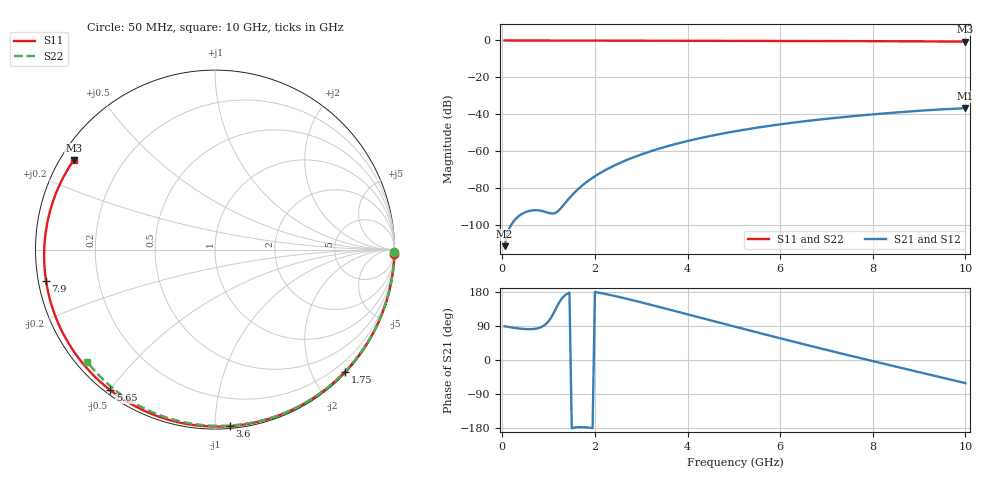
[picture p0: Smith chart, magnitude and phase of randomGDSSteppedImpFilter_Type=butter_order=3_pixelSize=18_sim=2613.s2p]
! freq	dB(S11)	phase(S11)	dB(S12)	phase(S12)
!  dB(S21)	phase(S21)	dB(S22)	phase(S22)
!S-par simulation data
#  GHz  S  DB  R 50
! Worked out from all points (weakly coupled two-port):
!   200 points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, 50 MHz to 10 GHz, reference 50 ohm
!   highest |S21| = -36.63 dB at 10 GHz (marker M1); lowest = -111.3 dB at 50 MHz (marker M2)
!   lowest |S11| = -0.6 dB at 10 GHz (marker M3), VSWR 28.41, Z = 1.91 + j14.5 ohm
!   |S11| at or under -10 dB: nowhere
!   |S22| runs from -0.5 to 0.0 dB; largest |S21 - S12| = 0
!   S11 on the Smith chart (normalised r, x): 50 MHz: 0, -90; 1.75 GHz: 0.02, -2.53; 3.6 GHz: 0.01, -1.09; 5.65 GHz: 0.01, -0.50; 7.9 GHz: 0.02, -0.09; 10 GHz: 0.04, +0.29
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0.05  -0.00 -1.3  -111.27 89.0  -111.27 89.0  -0.00 -0.8
0.4  -0.01 -10.1  -94.21 82.7  -94.21 82.7  -0.01 -6.4
0.8  -0.03 -20.1  -91.95 84.9  -91.95 84.9  -0.02 -12.8
1.2  -0.04 -29.9  -92.39 145.7  -92.39 145.7  -0.02 -19.1
1.65  -0.05 -40.8  -80.11 -177.2  -80.11 -177.2  -0.03 -26.1
1.75  -0.05 -43.2  -77.97 -177.3  -77.97 -177.3  -0.04 -27.7
2.05  -0.06 -50.3  -72.67 178.3  -72.67 178.3  -0.04 -32.3
2.45  -0.08 -59.6  -67.28 168.3  -67.28 168.3  -0.05 -38.5
2.9  -0.09 -69.8  -62.58 155.2  -62.58 155.2  -0.06 -45.3
3.4  -0.11 -80.9  -58.41 139.6  -58.41 139.6  -0.07 -52.7
3.6  -0.11 -85.2  -56.97 133.3  -56.97 133.3  -0.07 -55.6
4.3  -0.14 -99.9  -52.68 111.0  -52.68 111.0  -0.09 -65.7
5.05  -0.17 -115.0  -49.03 87.1  -49.03 87.1  -0.12 -76.2
5.65  -0.21 -126.7  -46.62 68.2  -46.62 68.2  -0.14 -84.3
6.2  -0.24 -137.3  -44.71 51.1  -44.71 51.1  -0.16 -91.6
6.7  -0.28 -146.8  -43.19 35.8  -43.19 35.8  -0.19 -98.1
7.3  -0.32 -158.2  -41.60 17.7  -41.60 17.7  -0.23 -105.7
7.9  -0.38 -169.6  -40.20 -0.0  -40.20 -0.0  -0.27 -113.2
8.35  -0.42 -178.4  -39.26 -13.1  -39.26 -13.1  -0.30 -118.8
8.8  -0.47 172.7  -38.40 -26.2  -38.40 -26.2  -0.34 -124.3
9.2  -0.52 164.6  -37.72 -37.8  -37.72 -37.8  -0.38 -129.1
10  -0.61 147.7  -36.63 -61.1  -36.63 -61.1  -0.47 -138.8
